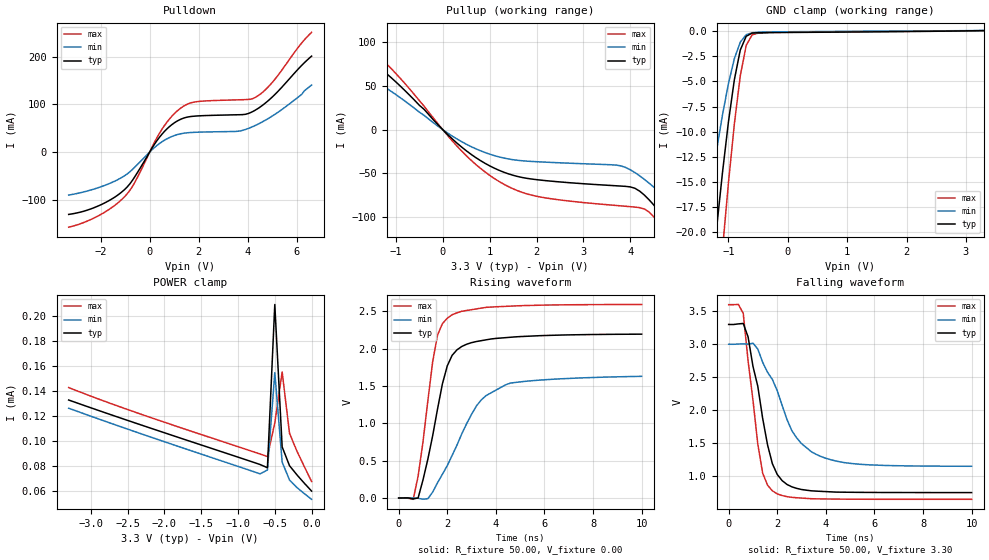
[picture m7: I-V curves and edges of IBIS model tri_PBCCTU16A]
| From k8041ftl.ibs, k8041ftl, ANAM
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|   Model tri_PBCCTU16A
[Model]   tri_PBCCTU16A
Model_type   I/O
Polarity   Non-Inverting
Enable   Active-Low
Vinl =   0.80V
Vinh =   2.00V
Vmeas =  1.50V
C_comp   7.13e-12F   7.13e-12F   7.13e-12F
[Temperature Range]   25   125   0
[Voltage Range]   3.30V   3.00V   3.60V
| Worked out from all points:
|   slope of the pulldown table from 0 to 0.495 V, typ, clamps not added: 13.3 ohm
|   slope of the pullup table from 0 to 0.495 V, typ, clamps not added: 20.8 ohm
|   GND clamp passes 1 mA (typ) near -0.74 V on its own axis
|   rising waveform, R_fixture 50.00, V_fixture 0.00: 20-80 % time 846ps typ, 1.56ns min, 640ps max; typ from 0 V to 2.2 V
|   falling waveform, R_fixture 50.00, V_fixture 3.30: 20-80 % time 805ps typ, 1.41ns min, 585ps max; typ from 3.3 V to 0.752 V
[POWER_clamp]
| voltage   I(typ)   I(min)   I(max)
-3.3V     132.7uA    126.2uA    142.7uA
-2.3V     112.5uA    105.5uA    121.1uA
-700mV    81.32uA    73.86uA    89.7uA
-600mV    78.74uA    76.95uA    87.7uA
-500mV    208.9uA    154.6uA    114.4uA
-400mV    95.36uA    83.21uA    155.1uA
-300mV    80.38uA    68.93uA    106.2uA
-200mV    73.14uA    63.03uA    92.07uA
0V        60.15uA    53.57uA    67.71uA
[GND_clamp]
| voltage   I(typ)   I(min)   I(max)
-3.3V     -167.2mA   -116.4mA   -200mA
-1.4V     -31.94mA   -19.86mA   -43.94mA
-1.2V     -19.67mA   -11.88mA   -28.82mA
-1.1V     -14.08mA   -8.338mA   -21.74mA
-1V       -9.05mA    -5.229mA   -15.13mA
-900mV    -4.835mA   -2.735mA   -9.236mA
-800mV    -1.871mA   -1.09mA    -4.439mA
-700mV    -503.9uA   -350uA     -1.403mA
-600mV    -190.8uA   -151.3uA   -358.4uA
-500mV    -149.8uA   -113.8uA   -199.2uA
-300mV    -139.1uA   -73.18uA   -124.3uA
3.3V      60.25uA    68.93uA    47.06uA
[Pullup]
| voltage   I(typ)   I(min)   I(max)
-3.3V     116.9mA    48.81mA    146.1mA
-3V       114.4mA    48.85mA    140.6mA
-2.7V     110.3mA    74.08mA    134mA
-2V       94.68mA    69.25mA    112.3mA
-1V       54.64mA    40.19mA    64.3mA
500mV     -23.99mA   -16.5mA    -29.64mA
1.5V      -52.12mA   -34.3mA    -67.59mA
3.8V      -64.44mA   -41.36mA   -87.11mA
4.2V      -70.26mA   -52.76mA   -89.17mA
5V        -121.2mA   -90.65mA   -138.8mA
5.5V      -164mA     -119.9mA   -191mA
6.6V      -326.5mA   -220.3mA   -410mA
[Pulldown]
| voltage   I(typ)   I(min)   I(max)
-3.3V     -131mA     -90.43mA   -157.8mA
-2V       -111mA     -73.17mA   -131.4mA
-1V       -77.69mA   -48.99mA   -92.53mA
-600mV    -51.36mA   -31.4mA    -63.1mA
400mV     31.09mA    17.94mA    39.44mA
800mV     53.22mA    30.32mA    69.09mA
1.2V      67.34mA    37.71mA    89.77mA
1.9V      75.75mA    41.65mA    105.8mA
3.6V      78.41mA    43.74mA    109.8mA
4.3V      87.91mA    55.81mA    114.7mA
5V        115.8mA    75.81mA    146.5mA
6.6V      201.6mA    140.8mA    251.6mA
[Ramp]
| variable   typ   min   max
dV/dt_r   0.01/3.41e-10   0.01/5.65e-10   0.02/3.38e-10
dV/dt_f   1.54/8.01e-10   1.12/1.43e-09   1.78/5.72e-10
R_load = 50.00
[Rising Waveform]
R_fixture = 50.00
V_fixture = 0.00
V_fixture_min = 0.00
V_fixture_max = 0.00
| time   V(typ)   V(min)   V(max)
0s        1.228uV    857.2nV    980.7nV
600ps     -12.3mV    875.2uV    -17.62mV
800ps     764.9uV    -3.943mV   292.2mV
1ns       241.1mV    -15.93mV   750.3mV
1.4ns     835.4mV    79.57mV    1.827V
1.6ns     1.193V     204.7mV    2.184V
2ns       1.77V      433.3mV    2.409V
3.2ns     2.097V     1.233V     2.534V
4.4ns     2.149V     1.517V     2.568V
10ns      2.196V     1.631V     2.593V
[Falling Waveform]
R_fixture = 50.00
V_fixture = 3.30
V_fixture_min = 3.00
V_fixture_max = 3.60
| time   V(typ)   V(min)   V(max)
0s        3.3V       3V         3.6V
400ps     3.308V     3.003V     3.602V
600ps     3.315V     3.006V     3.469V
800ps     3.11V      3.001V     2.745V
1.2ns     2.361V     2.927V     1.484V
1.4ns     1.875V     2.726V     1.046V
1.8ns     1.188V     2.465V     778.6mV
2.6ns     839.1mV    1.691V     679.9mV
3.8ns     770.5mV    1.299V     655.9mV
10ns      751.7mV    1.151V     649.6mV
